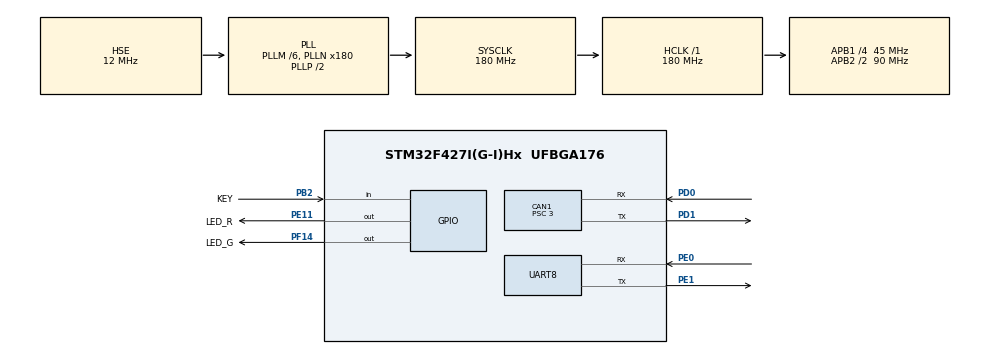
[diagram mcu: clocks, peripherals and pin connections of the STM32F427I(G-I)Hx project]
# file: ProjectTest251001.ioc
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CAN1.BS1=CAN_BS1_10TQ
CAN1.BS2=CAN_BS2_4TQ
CAN1.CalculateBaudRate=1000000
CAN1.CalculateTimeBit=1000
CAN1.CalculateTimeQuantum=66.66666666666666
CAN1.Prescaler=3
IWDG.Prescaler=IWDG_PRESCALER_16
IWDG.Reload=4000
Mcu.Family=STM32F4
Mcu.Name=STM32F427I(G-I)Hx
Mcu.Package=UFBGA176
NVIC.CAN1_RX0_IRQn=true\:0\:0\:false\:false\:true\:true\:true\:true
NVIC.CAN1_RX1_IRQn=true\:0\:0\:false\:false\:true\:true\:true\:true
NVIC.CAN1_TX_IRQn=true\:0\:0\:false\:false\:true\:true\:true\:true
NVIC.PriorityGroup=NVIC_PRIORITYGROUP_4
NVIC.TIM6_DAC_IRQn=true\:0\:0\:false\:false\:true\:true\:true\:true
NVIC.UART8_IRQn=true\:0\:0\:false\:false\:true\:true\:true\:true
PA13.Mode=Serial_Wire
PA13.Signal=SYS_JTMS-SWDIO
PA14.Mode=Serial_Wire
PA14.Signal=SYS_JTCK-SWCLK
PB2/BOOT1.GPIO_Label=KEY
PB2/BOOT1.GPIO_PuPd=GPIO_PULLDOWN
PB2/BOOT1.Signal=GPIO_Input
PD0.Mode=CAN_Activate
PD0.Signal=CAN1_RX
PD1.Mode=CAN_Activate
PD1.Signal=CAN1_TX
PE0.Mode=Asynchronous
PE0.Signal=UART8_RX
PE1.Mode=Asynchronous
PE1.Signal=UART8_TX
PE11.GPIO_Label=LED_R
PE11.GPIO_PuPd=GPIO_PULLUP
PE11.Signal=GPIO_Output
PF14.GPIO_Label=LED_G
PF14.Signal=GPIO_Output
PH0/OSC_IN.Mode=HSE-External-Oscillator
PH0/OSC_IN.Signal=RCC_OSC_IN
PH1/OSC_OUT.Mode=HSE-External-Oscillator
PH1/OSC_OUT.Signal=RCC_OSC_OUT
ProjectManager.HeapSize=0x200
ProjectManager.StackSize=0x400
ProjectManager.TargetToolchain=MDK-ARM V5.32
RCC.48MHZClocksFreq_Value=90000000
RCC.AHBFreq_Value=180000000
RCC.APB1CLKDivider=RCC_HCLK_DIV4
RCC.APB1Freq_Value=45000000
RCC.APB1TimFreq_Value=90000000
RCC.APB2CLKDivider=RCC_HCLK_DIV2
RCC.APB2Freq_Value=90000000
RCC.APB2TimFreq_Value=180000000
RCC.CortexFreq_Value=180000000
RCC.HCLKFreq_Value=180000000
RCC.HSE_VALUE=12000000
RCC.HSI_VALUE=16000000
RCC.LSE_VALUE=32768
RCC.PLLM=6
RCC.PLLN=180
RCC.PLLSourceVirtual=RCC_PLLSOURCE_HSE
RCC.SYSCLKFreq_VALUE=180000000
RCC.SYSCLKSource=RCC_SYSCLKSOURCE_PLLCLK
RCC.VCOOutputFreq_Value=360000000
TIM6.Period=1000-1
TIM6.Prescaler=180-1
UART8.Parity=PARITY_EVEN
UART8.VirtualMode=Asynchronous
UART8.WordLength=WORDLENGTH_9B
VP_IWDG_VS_IWDG.Mode=IWDG_Activate
VP_TIM6_VS_ClockSourceINT.Mode=Enable_Timer
board=custom

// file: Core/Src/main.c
/* USER CODE BEGIN Header */
/**
  ******************************************************************************
  * @file           : main.c
  * @brief          : Main program body
  ******************************************************************************
  * @attention
  *
  * Copyright (c) 2025 STMicroelectronics.
  * All rights reserved.
  *
  * This software is licensed under terms that can be found in the LICENSE file
  * in the root directory of this software component.
  * If no LICENSE file comes with this software, it is provided AS-IS.
  *
  ******************************************************************************
  */
/* USER CODE END Header */
#include "main.h"
#include "can.h"
#include "iwdg.h"
#include "tim.h"
#include "usart.h"
#include "gpio.h"

/* USER CODE BEGIN Includes */
#include <math.h>
#include <string.h>
#include "M3508_Motor.h"
#include "stdio.h"
/* USER CODE END Includes */

/* USER CODE BEGIN PV */
CAN_RxHeaderTypeDef rx_header;
CAN_TxHeaderTypeDef tx_header = {
    .StdId = 0x200,
    .ExtId = 0,
    .IDE = CAN_ID_STD,
    .RTR = CAN_RTR_DATA,
    .DLC = 8,
    .TransmitGlobalTime = ENABLE
};
CAN_FilterTypeDef can_filter = {
    .FilterActivation = ENABLE,
    .FilterBank = 0,
    .FilterFIFOAssignment = CAN_FILTER_FIFO0,
    .FilterIdHigh = 0x0000,
    .FilterIdLow = 0x0000,
    .FilterMaskIdHigh = 0x0000,
    .FilterMaskIdLow = 0x0000,
    .FilterMode = CAN_FILTERMODE_IDMASK,
    .FilterScale = CAN_FILTERSCALE_32BIT
};
uint8_t rx_data[8];
uint8_t tx_data[8] = {0x0, 0x00, 0x00, 0x00, 0x00, 0x00, 0x00, 0x00};

uint32_t can_tx_mailbox;

float target_angle = 10.0f;
uint8_t stop_flag = 1;

uint8_t step_test_enabled = 0;
uint32_t step_test_start_time = 0;
float step_initial_angle = 0.0f;
/* USER CODE END PV */

void SystemClock_Config(void);

/* USER CODE BEGIN 0 */
void Key_Process(void)
{
    if (HAL_GPIO_ReadPin(KEY_GPIO_Port, KEY_Pin) == GPIO_PIN_RESET)
    {
        HAL_Delay(40);  // 消抖
        if (HAL_GPIO_ReadPin(KEY_GPIO_Port, KEY_Pin) == GPIO_PIN_RESET)
        {
            stop_flag = !stop_flag;

            if (stop_flag == 1)
            {
                M3508_Motor_Stop();
            }

            while (HAL_GPIO_ReadPin(KEY_GPIO_Port, KEY_Pin) == GPIO_PIN_RESET);
        }
    }
}

void Step_Response_Test(void)
{
    static uint8_t last_stop_flag = 1;

    if (stop_flag == 0 && last_stop_flag == 1)
    {
        step_test_start_time = HAL_GetTick();
        step_initial_angle = target_angle;
        step_test_enabled = 1;
    }

    if (stop_flag == 0 && step_test_enabled)
    {
        uint32_t current_time = HAL_GetTick();
        if (current_time - step_test_start_time > 2000)
        {
            target_angle = step_initial_angle + 10.0f;
            step_test_enabled = 0;

            printf("Step test: %.1f -> %.1f deg\n", step_initial_angle, target_angle);
        }
    }

    last_stop_flag = stop_flag;
}
/* USER CODE END 0 */

int main(void)
{

  /* MCU Configuration--------------------------------------------------------*/

  /* Reset of all peripherals, Initializes the Flash interface and the Systick. */
  HAL_Init();

  /* USER CODE BEGIN Init */
    target_angle = 30.0f;
  /* USER CODE END Init */

  /* Configure the system clock */
  SystemClock_Config();

  /* Initialize all configured peripherals */
  MX_GPIO_Init();
  MX_UART8_Init();
  MX_CAN1_Init();
  MX_TIM6_Init();
  /* USER CODE BEGIN 2 */
  HAL_CAN_ConfigFilter(&hcan1, &can_filter);
  HAL_CAN_Start(&hcan1);
  HAL_CAN_ActivateNotification(&hcan1, CAN_IT_RX_FIFO0_MSG_PENDING);
  HAL_TIM_Base_Start_IT(&htim6);

  float position_kp = 0.0f;
  float position_ki = 0.0f;
  float position_kd = 0.0f;

  float speed_kp = 1.0f;
  float speed_ki = 0.0f;
  float speed_kd = 0.0f;

  M3508_Motor_SetPID(position_kp, position_ki, position_kd, speed_kp, speed_ki, speed_kd);

  M3508_Motor_SetPositionSpeedMode();

  M3508_Motor_Stop();
  /* USER CODE END 2 */

  /* Infinite loop */
  /* USER CODE BEGIN WHILE */
  while (1)
  {
      // Key_Process();
      // Step_Response_Test();
      //
      // HAL_Delay(10);
    /* USER CODE END WHILE */

  }
}

void SystemClock_Config(void)
{
  RCC_OscInitTypeDef RCC_OscInitStruct = {0};
  RCC_ClkInitTypeDef RCC_ClkInitStruct = {0};

  /** Configure the main internal regulator output voltage
  */
  __HAL_RCC_PWR_CLK_ENABLE();
  __HAL_PWR_VOLTAGESCALING_CONFIG(PWR_REGULATOR_VOLTAGE_SCALE1);

  /** Initializes the RCC Oscillators according to the specified parameters
  * in the RCC_OscInitTypeDef structure.
  */
  RCC_OscInitStruct.OscillatorType = RCC_OSCILLATORTYPE_LSI|RCC_OSCILLATORTYPE_HSE;
  RCC_OscInitStruct.HSEState = RCC_HSE_ON;
  RCC_OscInitStruct.LSIState = RCC_LSI_ON;
  RCC_OscInitStruct.PLL.PLLState = RCC_PLL_ON;
  RCC_OscInitStruct.PLL.PLLSource = RCC_PLLSOURCE_HSE;
  RCC_OscInitStruct.PLL.PLLM = 6;
  RCC_OscInitStruct.PLL.PLLN = 180;
  RCC_OscInitStruct.PLL.PLLP = RCC_PLLP_DIV2;
  RCC_OscInitStruct.PLL.PLLQ = 4;
  if (HAL_RCC_OscConfig(&RCC_OscInitStruct) != HAL_OK)
  {
    Error_Handler();
  }

  /** Activate the Over-Drive mode
  */
  if (HAL_PWREx_EnableOverDrive() != HAL_OK)
  {
    Error_Handler();
  }

  /** Initializes the CPU, AHB and APB buses clocks
  */
  RCC_ClkInitStruct.ClockType = RCC_CLOCKTYPE_HCLK|RCC_CLOCKTYPE_SYSCLK
                              |RCC_CLOCKTYPE_PCLK1|RCC_CLOCKTYPE_PCLK2;
  RCC_ClkInitStruct.SYSCLKSource = RCC_SYSCLKSOURCE_PLLCLK;
  RCC_ClkInitStruct.AHBCLKDivider = RCC_SYSCLK_DIV1;
  RCC_ClkInitStruct.APB1CLKDivider = RCC_HCLK_DIV4;
  RCC_ClkInitStruct.APB2CLKDivider = RCC_HCLK_DIV2;

  if (HAL_RCC_ClockConfig(&RCC_ClkInitStruct, FLASH_LATENCY_5) != HAL_OK)
  {
    Error_Handler();
  }
}

void Error_Handler(void)
{
  __disable_irq();
  while (1)
  {
  }
}
